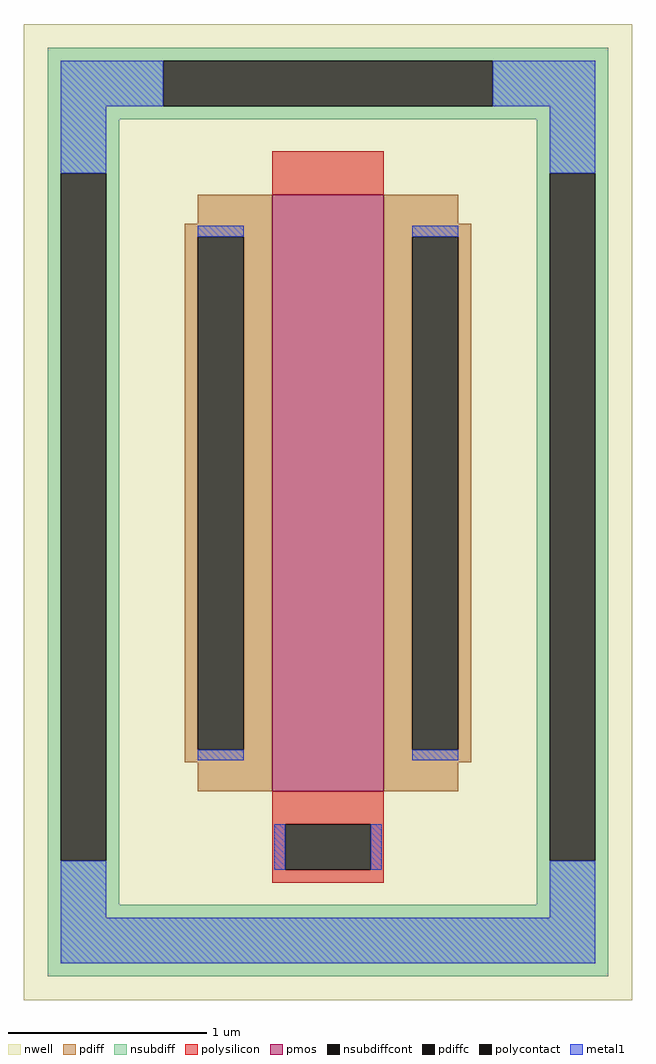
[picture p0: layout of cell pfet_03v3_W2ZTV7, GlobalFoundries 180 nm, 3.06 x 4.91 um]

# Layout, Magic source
magic
tech gf180mcuD
magscale 1 10
<< nwell >>
rect -306 -486 306 496
<< pmos >>
rect -56 -276 56 324
<< pdiff >>
rect -131 295 -56 324
rect -144 282 -56 295
rect -144 -234 -131 282
rect -85 -234 -56 282
rect -144 -247 -56 -234
rect -131 -276 -56 -247
rect 56 295 131 324
rect 56 282 144 295
rect 56 -234 85 282
rect 131 -234 144 282
rect 56 -247 144 -234
rect 56 -276 131 -247
<< pdiffc >>
rect -131 -234 -85 282
rect 85 -234 131 282
<< nsubdiff >>
rect -282 459 282 472
rect -282 413 -166 459
rect 166 413 282 459
rect -282 400 282 413
rect -282 346 -210 400
rect -282 -346 -269 346
rect -223 -346 -210 346
rect 210 346 282 400
rect -282 -390 -210 -346
rect 210 -346 223 346
rect 269 -346 282 346
rect 210 -390 282 -346
rect -282 -462 282 -390
<< nsubdiffcont >>
rect -166 413 166 459
rect -269 -346 -223 346
rect 223 -346 269 346
<< polysilicon >>
rect -56 324 56 368
rect -56 -309 56 -276
rect -56 -355 -43 -309
rect 43 -355 56 -309
rect -56 -368 56 -355
<< polycontact >>
rect -43 -355 43 -309
<< metal1 >>
rect -269 413 -166 459
rect 166 413 269 459
rect -269 346 -223 413
rect 223 346 269 413
rect -131 282 -85 293
rect -131 -245 -85 -234
rect 85 282 131 293
rect 85 -245 131 -234
rect -269 -403 -223 -346
rect -54 -355 -43 -309
rect 43 -355 54 -309
rect 223 -403 269 -346
rect -269 -449 269 -403
<< properties >>
string FIXED_BBOX -246 -426 246 426
string gencell pfet_03v3
string library gf180mcu
string parameters w 3.0 l 0.56 m 1 nf 1 diffcov 90 polycov 100 guard 1 glc 1 grc 1 gtc 1 gbc 0 tbcov 100 rlcov 100 topc 0 botc 1 poverlap 0 doverlap 1 lmin 0.28 wmin 0.22 class mosfet full_metal 1 compatible {pfet_03v3 pfet_05v0 pfet_06v0}
<< end >>
